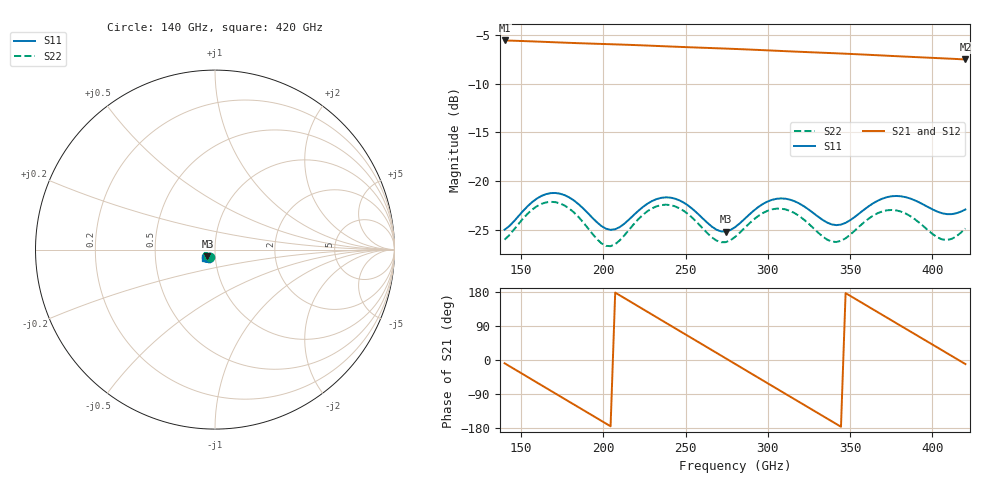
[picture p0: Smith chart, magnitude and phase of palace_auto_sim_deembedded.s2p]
! Created with skrf 1.11.0 (http://scikit-rf.org).
# GHz S DB R 50.0
!freq dBS11 angS11 dBS21 angS21 dBS12 angS12 dBS22 angS22
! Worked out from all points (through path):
!   101 points, 140 GHz to 420 GHz, reference 50 ohm
!   highest |S21| = -5.58 dB at 140 GHz (marker M1); lowest = -7.5 dB at 420 GHz (marker M2)
!   group delay of S21, straight-line fit = 7.17 ps
!   lowest |S11| = -25.2 dB at 274.4 GHz (marker M3), VSWR 1.12, Z = 45.9 - j3.32 ohm
!   |S11| at or under -10 dB: start of sweep to end of sweep
!   |S22| runs from -26.6 to -22.1 dB; largest |S21 - S12| = 5.6e-14
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140  -24.96 -123.7  -5.58 -8.7  -5.58 -8.7  -25.98 -123.6
151.2  -23.05 -117.2  -5.65 -37.6  -5.65 -37.6  -23.82 -118.5
165.2  -21.32 -127.4  -5.74 -73.8  -5.74 -73.8  -22.17 -131.0
176.4  -21.42 -139.2  -5.81 -102.7  -5.81 -102.7  -22.48 -144.0
187.6  -22.76 -147.1  -5.88 -131.6  -5.88 -131.6  -24.18 -152.2
201.6  -24.86 -141.1  -5.96 -167.7  -5.96 -167.7  -26.62 -142.5
210  -24.69 -131.4  -6.00 170.6  -6.00 170.6  -26.05 -130.5
221.2  -23.04 -127.5  -6.07 141.6  -6.07 141.6  -23.90 -128.1
235.2  -21.70 -136.6  -6.17 105.4  -6.17 105.4  -22.44 -139.9
252  -22.55 -150.1  -6.28 62.1  -6.28 62.1  -23.43 -155.6
274.4  -25.15 -139.3  -6.42 4.3  -6.42 4.3  -26.24 -144.7
280  -24.71 -133.2  -6.45 -10.2  -6.45 -10.2  -25.71 -138.7
291.2  -23.04 -130.1  -6.53 -39.1  -6.53 -39.1  -23.94 -136.9
305.2  -21.80 -138.4  -6.64 -75.2  -6.64 -75.2  -22.81 -147.1
316.4  -22.06 -146.7  -6.72 -104.1  -6.72 -104.1  -23.28 -156.6
327.6  -23.26 -150.3  -6.80 -132.9  -6.80 -132.9  -24.80 -160.3
338.8  -24.42 -144.4  -6.88 -161.8  -6.88 -161.8  -26.18 -152.3
350  -23.99 -134.4  -6.96 169.3  -6.96 169.3  -25.48 -140.9
375.2  -21.54 -139.8  -7.17 104.4  -7.17 104.4  -22.94 -150.2
386.4  -21.76 -146.6  -7.26 75.7  -7.26 75.7  -23.56 -158.2
400.4  -22.91 -148.6  -7.37 39.7  -7.37 39.7  -25.45 -157.8
420  -22.89 -138.5  -7.53 -10.7  -7.53 -10.7  -24.84 -138.9
